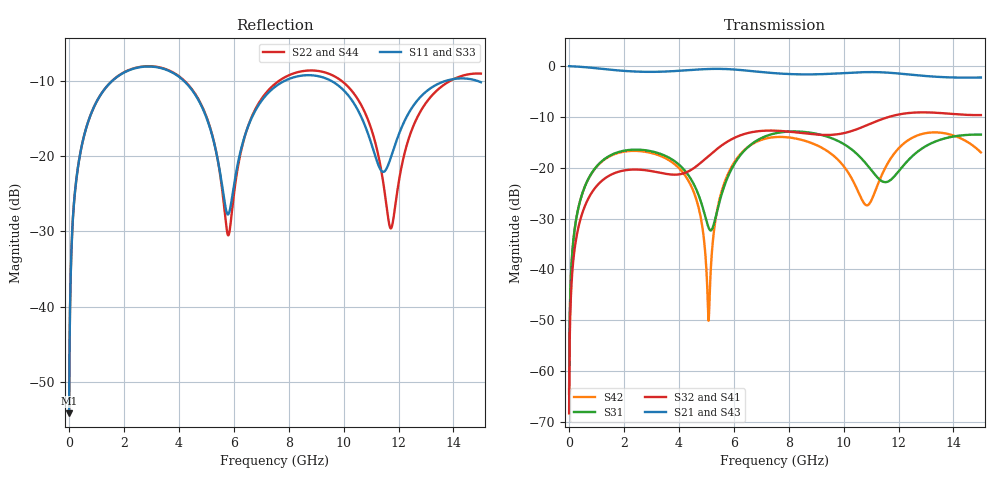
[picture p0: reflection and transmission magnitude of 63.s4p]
! Created with skrf 1.8.0 (http://scikit-rf.org).
# GHz S RI R 50.0
!freq ReS11 ImS11 ReS12 ImS12 ReS13 ImS13
! ReS14 ImS14
! ReS21 ImS21 ReS22 ImS22 ReS23 ImS23
! ReS24 ImS24
! ReS31 ImS31 ReS32 ImS32 ReS33 ImS33
! ReS34 ImS34
! ReS41 ImS41 ReS42 ImS42 ReS43 ImS43
! ReS44 ImS44
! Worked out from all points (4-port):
!   2499 points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, 5 MHz to 15 GHz, reference 50 ohm
!   strongest paths, dB at 5 MHz, 3.476 GHz, 7.19 GHz, 11.1 GHz, 15 GHz:
!     S21: 0.0, -1.1, -1.3, -1.2, -2.2
!     S43: 0.0, -1.1, -1.3, -1.2, -2.2
!     S32: -68.3, -21.1, -12.7, -11.1, -9.6
!     S41: -68.3, -21.2, -12.7, -11.1, -9.7
!     S31: -64.4, -17.6, -13.7, -21.1, -13.5
!     S42: -64.4, -18.0, -14.2, -25.3, -17.0
!   lowest |S11| = -54.2 dB at 5 MHz (marker M1), VSWR 1.00, Z = 50.2 + j0.118 ohm
!   |S11| at or under -10 dB: start of sweep to 1.567 GHz; 4.193 GHz to 7.837 GHz (3.643 GHz wide, 60.6 % of centre); 9.564 GHz to 13.69 GHz (4.131 GHz wide, 35.5 % of centre) (the widest 3 of 4)
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0.005  0.00155 0.00118  0.9984 -0.00302  7.7e-05 0.000597  -7.49e-05 -0.000377
       0.9984 -0.00302  0.00155 0.00118  -7.49e-05 -0.000377  7.69e-05 0.000597
       7.7e-05 0.000597  -7.49e-05 -0.000377  0.00155 0.00118  0.9984 -0.00302
       -7.49e-05 -0.000377  7.69e-05 0.000597  0.9984 -0.00302  0.00155 0.00118
0.3126303  0.0218 0.0781  0.9702 -0.1882  0.00992 0.0356  -0.00809 -0.0223
           0.9702 -0.1882  0.0219 0.0781  -0.00809 -0.0223  0.00944 0.0357
           0.00992 0.0356  -0.00809 -0.0223  0.0218 0.0781  0.9702 -0.1882
           -0.00809 -0.0223  0.00944 0.0357  0.9702 -0.1882  0.0219 0.0781
1.519383  0.2466 0.1882  0.5984 -0.7  0.118 0.0611  -0.0839 -0.0142
          0.5984 -0.7  0.2485 0.1871  -0.084 -0.0141  0.1119 0.0684
          0.118 0.0611  -0.084 -0.0141  0.2466 0.1883  0.5984 -0.7
          -0.0839 -0.0142  0.1119 0.0684  0.5984 -0.7  0.2486 0.1871
5.083368  0.0934 -0.136  -0.8349 -0.4245  -0.0216 -0.0142  -0.0554 0.1182
          -0.8349 -0.4245  0.0844 -0.1442  -0.0551 0.1183  -0.00285 -0.0013
          -0.0216 -0.0142  -0.0551 0.1183  0.0935 -0.1374  -0.8346 -0.4245
          -0.0554 0.1182  -0.00285 -0.0013  -0.8346 -0.4245  0.0856 -0.1451
9.066278  0.3388 -0.0415  0.0355 0.8306  0.1577 -0.1451  0.1956 -0.0792
          0.0355 0.8306  0.3632 -0.0678  0.1957 -0.0804  0.1618 -0.0296
          0.1577 -0.1451  0.1957 -0.0804  0.3385 -0.0411  0.0368 0.8305
          0.1956 -0.0792  0.1618 -0.0296  0.0368 0.8305  0.3634 -0.0693
11.71738  0.0869 0.0444  0.855 0.0769  -0.0438 0.0622  0.0192 -0.3193
          0.855 0.0769  0.0329 -0.00393  0.0177 -0.3198  0.0732 0.0996
          -0.0438 0.0622  0.0177 -0.3198  0.0843 0.0425  0.8552 0.0747
          0.0192 -0.3193  0.0732 0.0996  0.8552 0.0747  0.036 -0.0053
15  0.305 -0.0603  -0.00612 -0.7725  0.0958 -0.1891  -0.3233 0.0595
    -0.00612 -0.7725  0.3527 -0.0369  -0.3238 0.0633  0.1262 -0.0643
    0.0958 -0.1891  -0.3238 0.0633  0.3029 -0.0566  -0.0117 -0.7727
    -0.3233 0.0595  0.1262 -0.0643  -0.0117 -0.7727  0.3518 -0.0445
